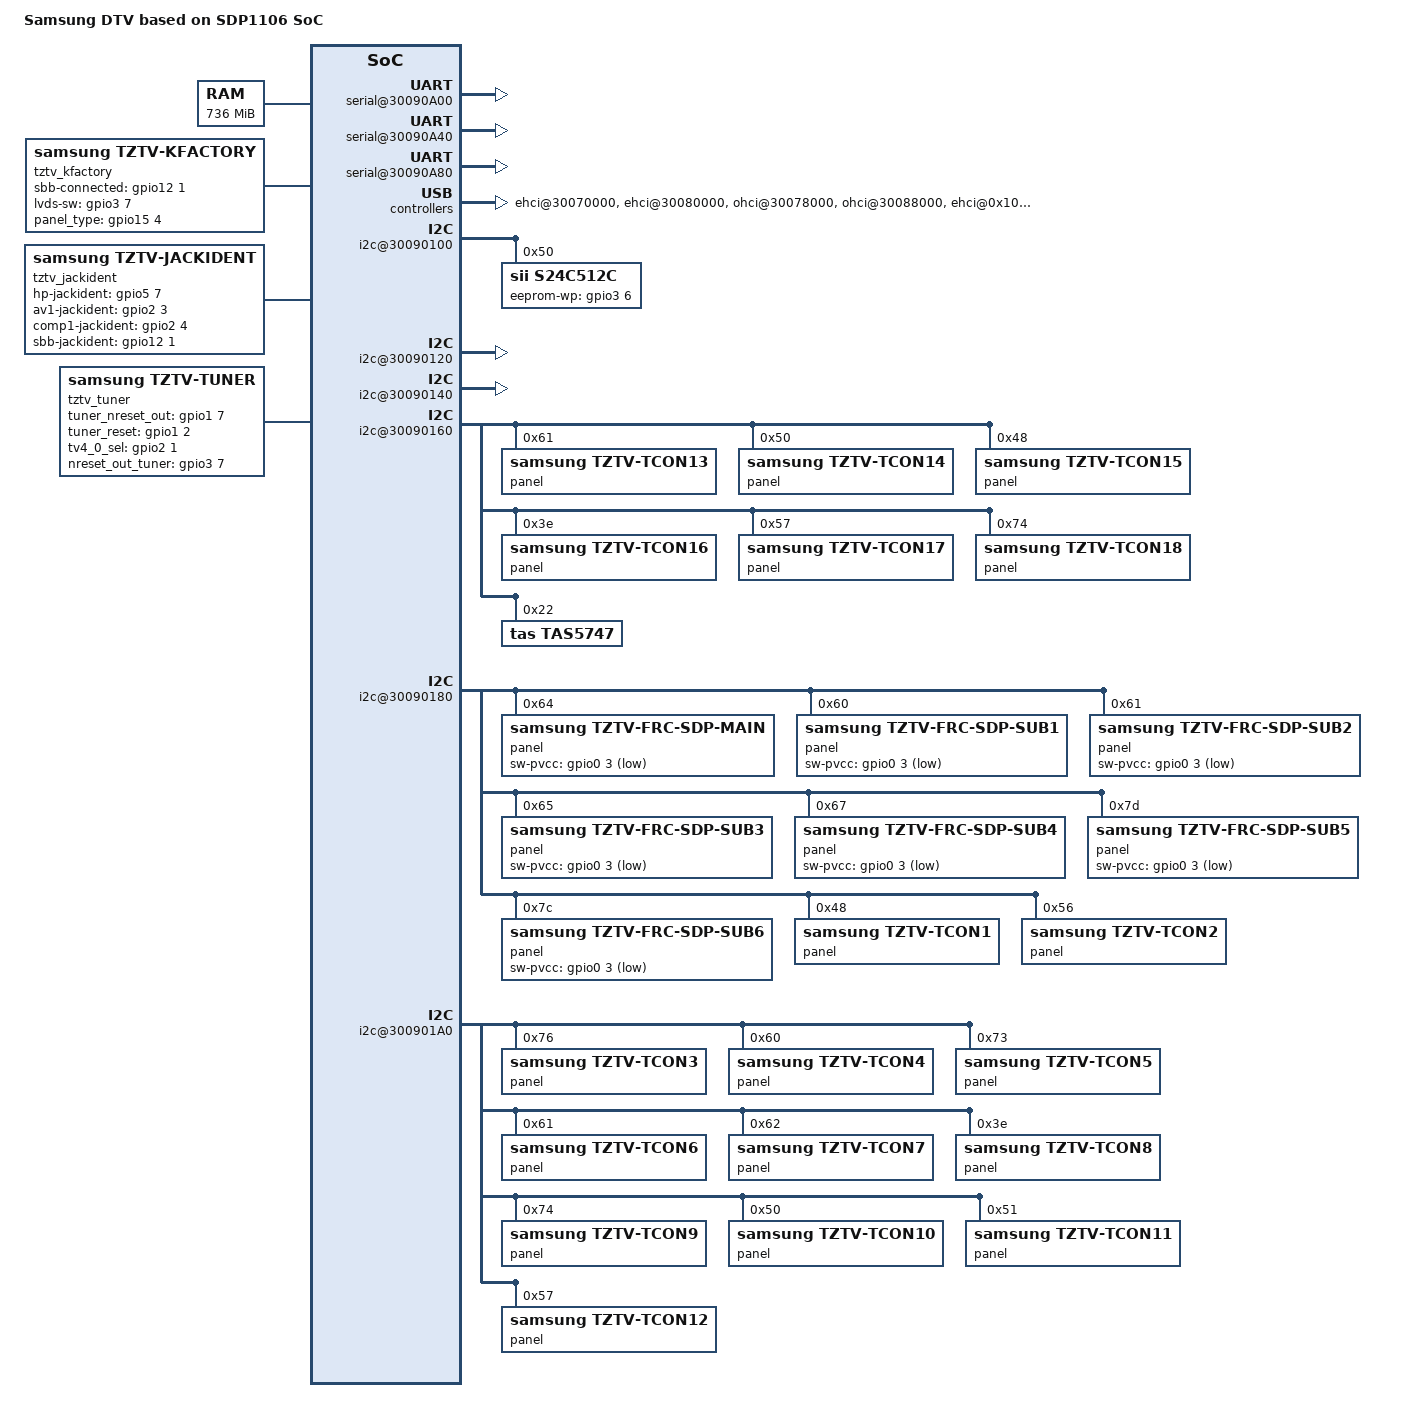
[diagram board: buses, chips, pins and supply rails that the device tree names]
/*
 * Copyright (C) 2014 Samsung Electronics Co.Ltd
 *
 * This program is free software; you can redistribute it and/or modify
 * it under the terms of the GNU General Public License version 2 as
 * published by the Free Software Foundation.
 */

/dts-v1/;
/include/ "sdp1106.dtsi"

/ {
	model = "Samsung DTV based on SDP1106 SoC";
	compatible = "samsung,sdp1106";

	memory {
		device_type = "memory";
		reg =  <0x40000000 0x16800000>, <0x80000000 0x8800000>, <0xA0000000 0xF000000>;
	};

	chosen {
		bootargs = "root=/dev/mmcblk0p13 rootfstype=vdfs rw rootwait earlyprintk console=ttyS0,115200n8 SELP_ENABLE=20102011 onboot=0054-FTK-0015 maintv";
//		bootargs = "console=ttyS1,115200N8 root=/dev/mmcblk0p10 rootwait earlyprintk user_debug=31 debug";
//		bootargs = "console=ttyS1,115200N8 root=/dev/ram0 initrd=0x40800000,8M rootwait earlyprintk";
	};

	fixed-rate-clocks {
		fin {
			compatible = "samsung,sdp-clock-fin";
			clock-frequency = <24000000>;
		};
	};


	serial@30090A00 {
		compatible = "samsung,sdp1304-uart-micom";
		status = "okay";
	};
	serial@30090A40 {
		status = "okay";
	};
	serial@30090A80 {			
		status = "okay";
	};

	pinctrl {
		compatible = "samsung,sdp-pinctrl";
		reg = <0x30090C00 0x294>;
		start-offset = <0x100>;
		nr-banks = <16> ;
		model-sel = <1>;	
	};
	
	ehci@30070000 {
		status = "okay";
	};

	ehci@30080000 {
		status = "okay";
	};

	ohci@30078000 {
		status = "okay";
	};

	ohci@30088000 {
		status = "okay";
	};

	sdp_mmap {
		compatible = "samsung,sdp-mmap";

		samsung,mfc-a = <0x0 0x57400000 0x1600000>;
		samsung,avd = <0x0 0x58A00000 0x600000>;
		samsung,dsp-enc = <0x0 0x59000000 0xF00000>;
		samsung,dp-enc = <0x0 0x59F00000 0x580000>;
		samsung,pvr = <0x0 0x5A480000 0x800000>;
		samsung,dp0 = <0x0 0x5AC80000 0x3100000>;
		samsung,dp1 = <0x0 0x5DD80000 0x1E80000>;
		samsung,se = <0x0 0x5FC00000 0x200000>;
		samsung,mhp-scaler = <0x0 0x5FE00000 0x100000>;
		samsung,ae0 = <0x0 0x88800000 0x1000000>;
		samsung,tsd = <0x0 0x89800000 0x200000>;
		samsung,mfc-b = <0x0 0x89A00000 0x4200000>;
		samsung,capture = <0x0 0x8DC00000 0x200000>;
		samsung,dp2 = <0x0 0x8DE00000 0x1A00000>;
		samsung,png = <0x0 0x8F800000 0x100000>;
		samsung,remote = <0x0 0xAF000000 0x1000000>;
	};

	i2c@30090100 {
		status = "okay";
		samsung,i2c-sda-delay = <1>;
		samsung,i2c-max-bus-freq = <400000>;
		samsung,i2c-irq-status-reg = <0x300901F4>;
		samsung,i2c-cpu-affinity = <0>;
		s24c512c@50 {
			compatible = "sii,s24c512c";
			reg = <0x50>;
			samsung,eeprom-wp = <&gpio3 6 0>;
          };
	};

	i2c@30090120 {
		status = "okay";
		samsung,i2c-sda-delay = <1>;
		samsung,i2c-max-bus-freq = <400000>;
		samsung,i2c-irq-status-reg = <0x300901F4>;
		samsung,i2c-cpu-affinity = <0>;
	};

	i2c@30090140 { 
		status = "okay";
		samsung,i2c-sda-delay = <1>;
		samsung,i2c-max-bus-freq = <400000>;
		samsung,i2c-irq-status-reg = <0x300901F4>;
		samsung,i2c-cpu-affinity = <0>;
	};

	i2c@30090160 {
		status = "okay";
		samsung,i2c-sda-delay = <1>;
		samsung,i2c-max-bus-freq = <400000>;
		samsung,i2c-irq-status-reg = <0x300901F4>;
		samsung,i2c-cpu-affinity = <0>;
		
			/* panel C2 SUB */
			panel@61 {
				compatible = "samsung,tztv-tcon13";
				 reg = <0x61>;
			};
			/* panel 0xA0 */
			panel@50 {
				compatible = "samsung,tztv-tcon14"; 
				reg = <0x50>;
			};
			
			/* panel 0x90 */
			panel@48 {
				compatible = "samsung,tztv-tcon15";
				reg = <0x48>;
			};
			
			/* panel 0x7C */
			panel@3E {
				compatible = "samsung,tztv-tcon16";
				reg = <0x3E>;
			};
			
			/* panel 0xAE */
			panel@57 {
				compatible = "samsung,tztv-tcon17";
				reg = <0x57>;
			};
			
			/* panel 0xE8 */
			panel@74 {
				compatible = "samsung,tztv-tcon18";
				reg = <0x74>;
			};
			
			tas5747@22 {
				compatible = "tas,tas5747";              
				reg = <0x22>;
		    };
	};

	i2c@30090180 {
		status = "okay";
		samsung,i2c-sda-delay = <1>;
		samsung,i2c-max-bus-freq = <400000>;
		samsung,i2c-irq-status-reg = <0x300901F4>;
		samsung,i2c-cpu-affinity = <0>;

			/* panel C8 */
			panel@64 {
				compatible = "samsung,tztv-frc-sdp-main";
				samsung,sw-pvcc = <&gpio0 3 1>;
				reg = <0x64>;
			};
			
			/* panel C0 SUB */
			panel@60 {
				compatible = "samsung,tztv-frc-sdp-sub1";
				samsung,sw-pvcc = <&gpio0 3 1>;
				reg = <0x60>;
			};

			/* panel C2 SUB */
			panel@61 {
				compatible = "samsung,tztv-frc-sdp-sub2";
				samsung,sw-pvcc = <&gpio0 3 1>;
				 reg = <0x61>;
			};
			
			/* panel CA SUB */
			panel@65 {
				compatible = "samsung,tztv-frc-sdp-sub3";
				samsung,sw-pvcc = <&gpio0 3 1>;
				reg = <0x65>;
			};

			/* panel CE SUB */
			panel@67 {
				compatible = "samsung,tztv-frc-sdp-sub4";
				samsung,sw-pvcc = <&gpio0 3 1>;
				reg = <0x67>;
			};
			

			/* panel FA SUB */ 
			panel@7D {
				compatible = "samsung,tztv-frc-sdp-sub5";
				samsung,sw-pvcc = <&gpio0 3 1>;
				reg = <0x7D>;
			};
			
			/* panel F8 SUB */ 
			panel@7C {
				compatible = "samsung,tztv-frc-sdp-sub6";
				samsung,sw-pvcc = <&gpio0 3 1>;
				reg = <0x7C>;
			};
			
			/* panel 0x90 */
			panel@48 {
				compatible = "samsung,tztv-tcon1";
				reg = <0x48>;
			};
			
			/* panel 0xAC */
			panel@56 {
				compatible = "samsung,tztv-tcon2";
				reg = <0x56>;
			};
		};

	i2c@300901A0 {
		status = "okay";
		samsung,i2c-sda-delay = <1>;
		samsung,i2c-max-bus-freq = <400000>;
		samsung,i2c-irq-status-reg = <0x300901F4>;
		samsung,i2c-cpu-affinity = <0>;
		
			/* panel 0xEC */ 
			panel@76 {
				compatible = "samsung,tztv-tcon3";
				reg = <0x76>;
			};

			/* panel 0xC0 */
			panel@60 {
				compatible = "samsung,tztv-tcon4";
				reg = <0x60>;
			};
			
			/* panel 0xE6 */
			panel@73 {
				compatible = "samsung,tztv-tcon5";
				reg = <0x73>;
			};
			

			/* panel 0xC2 */
			panel@61 {
				compatible = "samsung,tztv-tcon6";
				reg = <0x61>;
			};

			/* panel 0xC4 */
			panel@62 {
				compatible = "samsung,tztv-tcon7";
				reg = <0x62>;
			};

		
			/* panel 0x7C */
			panel@3E {
				compatible = "samsung,tztv-tcon8";
				reg = <0x3E>;
			};


			/* panel 0xE8 */
			panel@74 {
				compatible = "samsung,tztv-tcon9";
				reg = <0x74>;
			};

			/* panel 0xA0 */
			panel@50 {
				compatible = "samsung,tztv-tcon10"; 
				reg = <0x50>;
			};
			
			/* panel 0xA2 */
			panel@51 {
				compatible = "samsung,tztv-tcon11"; 
				reg = <0x51>;
			};

			/* panel 0xAE */
			panel@57 {
				compatible = "samsung,tztv-tcon12";
				reg = <0x57>;
			};

	};
	
	ehci@0x100e0000 {
		status = "okay";
		samsung,sw-reset = <0x10090000 0x8f4 0x1000>;
		samsung,ehci-gpr_reg = <0x100a0000 0x10 0x2020>;
		samsung,ehci-gpr_reg1 = <0x100a0000 0x3c 0x0>;
		samsung,ehci-link-set =  <0x100a0000 0x14 0x803800>;
		samsung,vbus-enable = <0x10090000 0xcb4 0x00000030 0x02>;
	};

	ehci@0x100f0000 {
		status = "okay";
		samsung,sw-reset = <0x10090000 0x8f4 0x2000>;
		samsung,ehci-gpr_reg = <0x100a0000 0x18 0x2020>;
		samsung,ehci-link-set =  <0x100a0000 0x1c 0x803800>;
		samsung,vbus-enable = <0x10090000 0xcb4 0x00000300 0x04>;
	};

	usben {
		status = "okay";
		samsung,usb-enable = <&gpio0 1 0>;
	};

	tztv_kfactory {
		compatible = "samsung,tztv-kfactory";
		samsung,sbb-connected = <&gpio12 1 0>;
		samsung,lvds-sw = <&gpio3 7 0>;
		samsung,panel_type = <&gpio15 4 0>;
    };
	
	tztv_jackident {
		compatible = "samsung,tztv-jackident";
		samsung,hp-jackident = <&gpio5 7 0>;
		samsung,av1-jackident = <&gpio2 3 0>;
		samsung,comp1-jackident = <&gpio2 4 0>;
		samsung,sbb-jackident = <&gpio12 1 0>;
	};
	
	tztv_sbb-interface {
		samsung,sbb-detect = <&gpio12 1 0>;
	};
	
	tztv_tuner {
		compatible = "samsung,tztv-tuner";
		samsung,tuner_nreset_out = <&gpio1 7 0>;
		samsung,tuner_reset = <&gpio1 2 0>;
		samsung,tv4_0_sel = <&gpio2 1 0>;
		samsung,nreset_out_tuner = <&gpio3 7 0>;
	};
	
	tztv_ksocket {
		compatible = "samsung,ksocket";
	};

		
};
